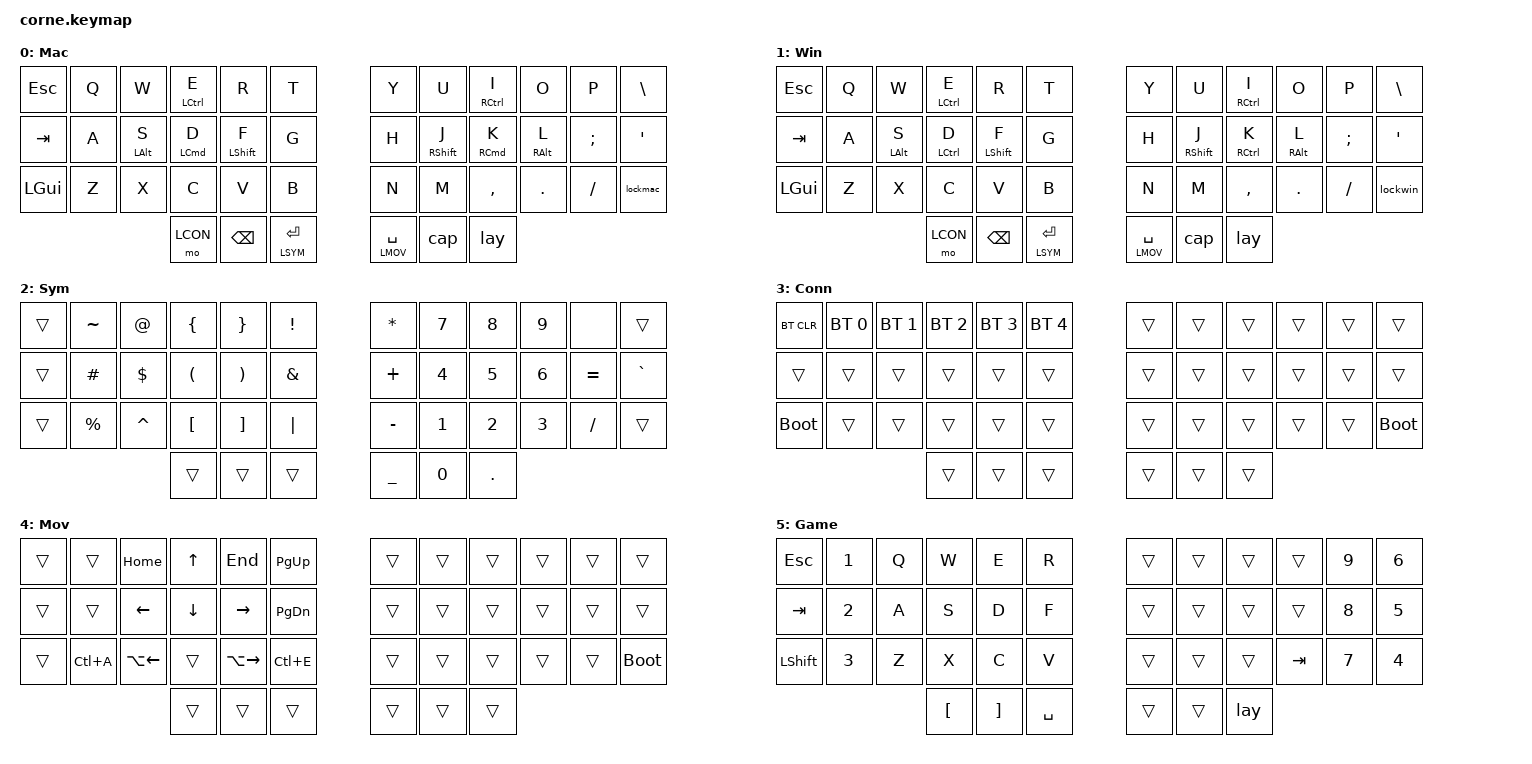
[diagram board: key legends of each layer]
/*
 * Copyright (c) 2020 The ZMK Contributors
 *
 * SPDX-License-Identifier: MIT
 */

#include <behaviors.dtsi>
#include <dt-bindings/zmk/bt.h>
#include <dt-bindings/zmk/keys.h>

#include "zmk-helpers/helper.h"
#include "zmk-helpers/key-labels/42.h"  // corne

#define VERS E

/* Global defaults */
#define LMAC 0
#define LAWIN 1
#define LSYM 2
#define LCON 3
#define LMOV 4
#define LGAM 5

/* Homerow mods */

#define KEYS_L LT0 LT1 LT2 LT3 LT4 LM0 LM1 LM2 LM3 LM4 LB0 LB1 LB2 LB3 LB4
#define KEYS_R RT0 RT1 RT2 RT3 RT4 RM0 RM1 RM2 RM3 RM4 RB0 RB1 RB2 RB3 RB4
#define THUMBS_L LH2 LH1 LH0
#define THUMBS_R RH0 RH1 RH2

/ {
    behaviors {
        hml: home_row_mod_left {
            compatible = "zmk,behavior-hold-tap";
            #binding-cells = <2>;
            flavor = "balanced";
            require-prior-idle-ms = <120>;
            tapping-term-ms = <200>;
            quick-tap-ms = <150>;
            bindings = <&kp>, <&kp>;
            hold-trigger-key-positions = <KEYS_R THUMBS_R>;
            hold-trigger-on-release;
        };
        hmr: home_row_mod_right {
            compatible = "zmk,behavior-hold-tap";
            #binding-cells = <2>;
            flavor = "balanced";
            require-prior-idle-ms = <120>;
            tapping-term-ms = <200>;
            quick-tap-ms = <150>;
            bindings = <&kp>, <&kp>;
            hold-trigger-key-positions = <KEYS_L THUMBS_L>;
            hold-trigger-on-release;
        };
        lay: tap_dance_layers {
            compatible = "zmk,behavior-tap-dance";
            #binding-cells = <0>;
            tapping-term-ms = <280>;
            bindings = <&none>, <&to LMAC>, <&to LAWIN>, <&to LGAM>;
        };
        cap: tap_dance_cap {
            compatible = "zmk,behavior-tap-dance";
            #binding-cells = <0>;
            tapping-term-ms = <160>;
            bindings = <&kp DEL>, <&caps_word>;
        };
        lockmac: tap_dance_lockmac {
            compatible = "zmk,behavior-tap-dance";
            #binding-cells = <0>;
            tapping-term-ms = <200>;
            bindings = <&none>, <&kp LC(LG(Q))>;
        };
        lockwin: tap_dance_lockwin {
            compatible = "zmk,behavior-tap-dance";
            #binding-cells = <0>;
            tapping-term-ms = <200>;
            bindings = <&none>, <&kp LC(L)>;
        };
    };
};


/ {
    keymap {
        compatible = "zmk,keymap";

        mac_layer {
            display-name = "Mac";
            bindings = <
&kp ESC       &kp Q  &kp W        &hml LCTRL E  &kp R          &kp T         &kp Y           &kp U         &hmr RCTRL I  &kp O        &kp P     &kp BSLH
&kp TAB       &kp A  &hml LALT S  &hml LCMD D   &hml LSHFT F   &kp G         &kp H           &hmr RSHFT J  &hmr RCMD K   &hmr RALT L  &kp SEMI  &kp SQT
&kp LEFT_GUI  &kp Z  &kp X        &kp C         &kp V          &kp B         &kp N           &kp M         &kp COMMA     &kp DOT      &kp FSLH  &lockmac
                                  &mo LCON      &kp BACKSPACE  &lt LSYM RET  &lt LMOV SPACE  &cap          &lay
            >;
        };

        win_layer {
            display-name = "Win";
            bindings = <
&kp ESC       &kp Q  &kp W        &hml LCTRL E  &kp R          &kp T          &kp Y          &kp U         &hmr RCTRL I  &kp O        &kp P     &kp BSLH
&kp TAB       &kp A  &hml LALT S  &hml LCTRL D  &hml LSHFT F   &kp G          &kp H          &hmr RSHFT J  &hmr RCTRL K  &hmr RALT L  &kp SEMI  &kp SQT
&kp LEFT_GUI  &kp Z  &kp X        &kp C         &kp V          &kp B          &kp N          &kp M         &kp COMMA     &kp DOT      &kp FSLH  &lockwin
                                  &mo LCON      &kp BACKSPACE  &lt LSYM RET   &lt LMOV SPACE &cap          &lay
            >;
        };

        symbols_layer {
            display-name = "Sym";
            bindings = <
&trans  &kp TILDE    &kp AT      &kp LEFT_BRACE        &kp RIGHT_BRACE        &kp EXCLAMATION  &kp STAR         &kp N7   &kp N8     &kp N9  &none      &trans
&trans  &kp POUND    &kp DOLLAR  &kp LEFT_PARENTHESIS  &kp RIGHT_PARENTHESIS  &kp AMPERSAND    &kp PLUS         &kp N4   &kp N5     &kp N6  &kp EQUAL  &kp GRAVE
&trans  &kp PERCENT  &kp CARET   &kp LEFT_BRACKET      &kp RIGHT_BRACKET      &kp PIPE         &kp MINUS        &kp N1   &kp N2     &kp N3  &kp SLASH  &trans
                                 &trans                &trans                 &trans           &kp UNDERSCORE   &kp N0   &kp PERIOD
            >;
        };

        connect_layer {
            display-name = "Conn";
            bindings = <
&bt BT_CLR  &bt BT_SEL 0  &bt BT_SEL 1  &bt BT_SEL 2  &bt BT_SEL 3  &bt BT_SEL 4  &trans   &trans      &trans     &trans   &trans      &trans
&trans      &trans        &trans        &trans        &trans        &trans        &trans   &trans      &trans     &trans   &trans      &trans
&bootloader &trans        &trans        &trans        &trans        &trans        &trans   &trans      &trans     &trans   &trans      &bootloader
                                        &trans        &trans        &trans        &trans   &trans      &trans
            >;
        };

        move_layer {
            display-name = "Mov";
            bindings = <
&trans  &trans     &kp HOME      &kp UP    &kp END        &kp PG_UP   &trans   &trans      &trans     &trans   &trans      &trans
&trans  &trans     &kp LEFT      &kp DOWN  &kp RIGHT      &kp PG_DN   &trans   &trans      &trans     &trans   &trans      &trans
&trans  &kp LC(A)  &kp LA(LEFT)  &trans    &kp LA(RIGHT)  &kp LC(E)   &trans   &trans      &trans     &trans   &trans      &bootloader
                                    &trans     &trans      &trans   &trans      &trans     &trans
            >;
        };

        game_layer {
            display-name = "Game";
            bindings = <
&kp ESC   &kp N1  &kp Q  &kp W     &kp E     &kp R      &trans  &trans  &trans  &trans   &kp N9  &kp N6
&kp TAB   &kp N2  &kp A  &kp S     &kp D     &kp F      &trans  &trans  &trans  &trans   &kp N8  &kp N5
&kp LSHFT &kp N3  &kp Z  &kp X     &kp C     &kp V      &trans  &trans  &trans  &kp TAB  &kp N7  &kp N4
                         &kp LBKT  &kp RBKT  &kp SPACE  &trans  &trans  &lay
            >;
        };
    };
};
